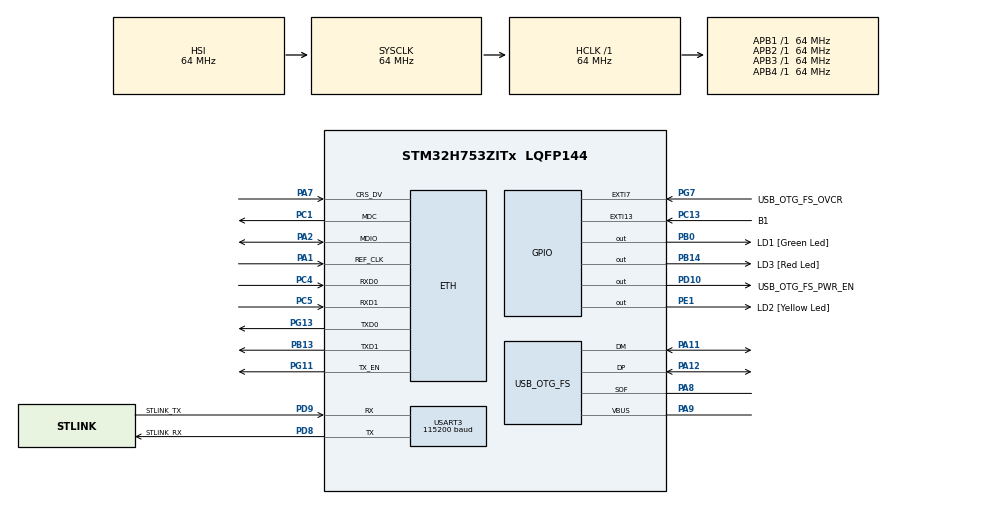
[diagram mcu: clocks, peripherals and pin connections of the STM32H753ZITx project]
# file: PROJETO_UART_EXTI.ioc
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CORTEX_M7.CPU_DCache=Disabled
CORTEX_M7.CPU_ICache=Disabled
CORTEX_M7.MPU_Control=__NULL
Dma.Request0=USART3_RX
Dma.Request1=USART3_TX
Dma.USART3_RX.0.Direction=DMA_PERIPH_TO_MEMORY
Dma.USART3_RX.0.EventEnable=DISABLE
Dma.USART3_RX.0.FIFOMode=DMA_FIFOMODE_DISABLE
Dma.USART3_RX.0.Instance=DMA1_Stream0
Dma.USART3_RX.0.MemDataAlignment=DMA_MDATAALIGN_BYTE
Dma.USART3_RX.0.MemInc=DMA_MINC_ENABLE
Dma.USART3_RX.0.Mode=DMA_NORMAL
Dma.USART3_RX.0.PeriphDataAlignment=DMA_PDATAALIGN_BYTE
Dma.USART3_RX.0.PeriphInc=DMA_PINC_DISABLE
Dma.USART3_RX.0.Polarity=HAL_DMAMUX_REQ_GEN_RISING
Dma.USART3_RX.0.Priority=DMA_PRIORITY_LOW
Dma.USART3_RX.0.RequestNumber=1
Dma.USART3_RX.0.SignalID=NONE
Dma.USART3_RX.0.SyncEnable=DISABLE
Dma.USART3_RX.0.SyncPolarity=HAL_DMAMUX_SYNC_NO_EVENT
Dma.USART3_RX.0.SyncRequestNumber=1
Dma.USART3_RX.0.SyncSignalID=NONE
Dma.USART3_TX.1.Direction=DMA_MEMORY_TO_PERIPH
Dma.USART3_TX.1.EventEnable=DISABLE
Dma.USART3_TX.1.FIFOMode=DMA_FIFOMODE_DISABLE
Dma.USART3_TX.1.Instance=DMA1_Stream1
Dma.USART3_TX.1.MemDataAlignment=DMA_MDATAALIGN_BYTE
Dma.USART3_TX.1.MemInc=DMA_MINC_ENABLE
Dma.USART3_TX.1.Mode=DMA_NORMAL
Dma.USART3_TX.1.PeriphDataAlignment=DMA_PDATAALIGN_BYTE
Dma.USART3_TX.1.PeriphInc=DMA_PINC_DISABLE
Dma.USART3_TX.1.Polarity=HAL_DMAMUX_REQ_GEN_RISING
Dma.USART3_TX.1.Priority=DMA_PRIORITY_LOW
Dma.USART3_TX.1.RequestNumber=1
Dma.USART3_TX.1.SignalID=NONE
Dma.USART3_TX.1.SyncEnable=DISABLE
Dma.USART3_TX.1.SyncPolarity=HAL_DMAMUX_SYNC_NO_EVENT
Dma.USART3_TX.1.SyncRequestNumber=1
Dma.USART3_TX.1.SyncSignalID=NONE
ETH.ETH_RX_DESC_CNT=4
ETH.ETH_TX_DESC_CNT=4
ETH.MACAddr=00\:80\:E1\:00\:00\:00
ETH.MediaInterface=HAL_ETH_RMII_MODE
ETH.RxBuffAddress=0x30040200
ETH.RxBuffLen=1524
ETH.RxDescAddress=0x30040000
ETH.TxDescAddress=0x30040060
Mcu.Family=STM32H7
Mcu.Name=STM32H753ZITx
Mcu.Package=LQFP144
NVIC.DMA1_Stream0_IRQn=true\:0\:0\:false\:false\:true\:false\:true\:true
NVIC.DMA1_Stream1_IRQn=true\:0\:0\:false\:false\:true\:false\:true\:true
NVIC.EXTI15_10_IRQn=true\:0\:0\:false\:false\:true\:true\:true\:true
NVIC.PriorityGroup=NVIC_PRIORITYGROUP_4
NVIC.USART3_IRQn=true\:0\:0\:false\:false\:true\:true\:true\:true
PA1.Mode=RMII
PA1.Signal=ETH_REF_CLK
PA11.Mode=Device_Only
PA11.Signal=USB_OTG_FS_DM
PA12.Mode=Device_Only
PA12.Signal=USB_OTG_FS_DP
PA2.Mode=RMII
PA2.Signal=ETH_MDIO
PA7.Mode=RMII
PA7.Signal=ETH_CRS_DV
PA8.Mode=Activate_SOF_FS
PA8.Signal=USB_OTG_FS_SOF
PA9.Mode=Activate_VBUS
PA9.Signal=USB_OTG_FS_VBUS
PB0.GPIO_Label=LD1 [Green Led]
PB0.Signal=GPIO_Output
PB13.Mode=RMII
PB13.Signal=ETH_TXD1
PB14.GPIO_Label=LD3 [Red Led]
PB14.Signal=GPIO_Output
PC1.Mode=RMII
PC1.Signal=ETH_MDC
PC13.GPIO_Label=B1
PC13.Signal=GPXTI13
PC14-OSC32_IN\ (OSC32_IN).Mode=LSE-External-Oscillator
PC14-OSC32_IN\ (OSC32_IN).Signal=RCC_OSC32_IN
PC15-OSC32_OUT\ (OSC32_OUT).Mode=LSE-External-Oscillator
PC15-OSC32_OUT\ (OSC32_OUT).Signal=RCC_OSC32_OUT
PC4.Mode=RMII
PC4.Signal=ETH_RXD0
PC5.Mode=RMII
PC5.Signal=ETH_RXD1
PD10.GPIO_Label=USB_OTG_FS_PWR_EN
PD10.Signal=GPIO_Output
PD8.GPIO_Label=STLINK_RX
PD8.Mode=Asynchronous
PD8.Signal=USART3_TX
PD9.GPIO_Label=STLINK_TX
PD9.Mode=Asynchronous
PD9.Signal=USART3_RX
PE1.GPIO_Label=LD2 [Yellow Led]
PE1.Signal=GPIO_Output
PG11.Mode=RMII
PG11.Signal=ETH_TX_EN
PG13.Mode=RMII
PG13.Signal=ETH_TXD0
PG7.GPIO_Label=USB_OTG_FS_OVCR
PG7.Signal=GPXTI7
PH0-OSC_IN\ (PH0).Mode=HSE-External-Clock-Source
PH0-OSC_IN\ (PH0).Signal=RCC_OSC_IN
PH1-OSC_OUT\ (PH1).Signal=RCC_OSC_OUT
ProjectManager.HeapSize=0x200
ProjectManager.StackSize=0x400
ProjectManager.TargetToolchain=STM32CubeIDE
RCC.ADCFreq_Value=16125000
RCC.APB1Freq_Value=64000000
RCC.APB2Freq_Value=64000000
RCC.APB3Freq_Value=64000000
RCC.APB4Freq_Value=64000000
RCC.CortexFreq_Value=64000000
RCC.DIVM1=1
RCC.DIVN1=24
RCC.DIVQ1=4
RCC.HCLKFreq_Value=64000000
RCC.HSE_VALUE=8000000
RCC.PLLFRACN=0
RCC.PWR_Regulator_Voltage_Scale=PWR_REGULATOR_VOLTAGE_SCALE2
RCC.SYSCLKFreq_VALUE=64000000
RCC.USBFreq_Value=48000000
USART3.AutoBaudRateEnableParam=UART_ADVFEATURE_AUTOBAUDRATE_DISABLE
USART3.BaudRate=115200
USART3.ClockPrescaler=PRESCALER_DIV1
USART3.DMADisableonRxErrorParam=ADVFEATURE_DMA_ENABLEONRXERROR
USART3.DataInvertParam=ADVFEATURE_DATAINV_DISABLE
USART3.FIFOMode=FIFOMODE_DISABLE
USART3.MSBFirstParam=ADVFEATURE_MSBFIRST_DISABLE
USART3.Mode=MODE_TX_RX
USART3.OneBitSampling=UART_ONE_BIT_SAMPLE_DISABLE
USART3.OverSampling=UART_OVERSAMPLING_16
USART3.OverrunDisableParam=ADVFEATURE_OVERRUN_ENABLE
USART3.Parity=PARITY_NONE
USART3.RXFIFOThreshold=RXFIFO_THRESHOLD_1EIGHTHFULL
USART3.RxPinLevelInvertParam=ADVFEATURE_RXINV_DISABLE
USART3.StopBits=STOPBITS_1
USART3.SwapParam=ADVFEATURE_SWAP_DISABLE
USART3.TXFIFOThreshold=TXFIFO_THRESHOLD_1EIGHTHFULL
USART3.TxPinLevelInvertParam=ADVFEATURE_TXINV_DISABLE
USART3.VirtualMode-Asynchronous=VM_ASYNC
USART3.WordLength=WORDLENGTH_8B
USB_OTG_FS.Sof_enable=ENABLE
USB_OTG_FS.VirtualMode=Device_Only
USB_OTG_FS.battery_charging_enable=ENABLE
USB_OTG_FS.low_power_enable=DISABLE
USB_OTG_FS.lpm_enable=DISABLE
USB_OTG_FS.use_dedicated_ep1=DISABLE
USB_OTG_FS.vbus_sensing_enable=ENABLE
VP_MEMORYMAP_VS_MEMORYMAP.Mode=CurAppReg
board=NUCLEO-H753ZI

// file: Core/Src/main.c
/* USER CODE BEGIN Header */
/**
  ******************************************************************************
  * @file           : main.c
  * @brief          : Main program body
  ******************************************************************************
  * @attention
  *
  * Copyright (c) 2024 STMicroelectronics.
  * All rights reserved.
  *
  * This software is licensed under terms that can be found in the LICENSE file
  * in the root directory of this software component.
  * If no LICENSE file comes with this software, it is provided AS-IS.
  *
  ******************************************************************************
  */
/* USER CODE END Header */
#include "main.h"
#include "string.h"

/* USER CODE BEGIN Includes */
int contador = 0;

char rx_buffer[10]; // Buffer for received character
char message[10]; //mensagem a ser transmitida pela serial
char Rx_flag = '0';

char tabela[10][5] = {
		"Wagner1,09887",
		"Vallentina,09888",
		"Izabella,09999",
		"Benicio,09999",
		"Vilma,09881"
};
/* USER CODE END Includes */

#if defined ( __ICCARM__ ) /*!< IAR Compiler */
#pragma location=0x30040000
ETH_DMADescTypeDef  DMARxDscrTab[ETH_RX_DESC_CNT]; /* Ethernet Rx DMA Descriptors */
#pragma location=0x30040060
ETH_DMADescTypeDef  DMATxDscrTab[ETH_TX_DESC_CNT]; /* Ethernet Tx DMA Descriptors */

#elif defined ( __CC_ARM )  /* MDK ARM Compiler */

__attribute__((at(0x30040000))) ETH_DMADescTypeDef  DMARxDscrTab[ETH_RX_DESC_CNT]; /* Ethernet Rx DMA Descriptors */
__attribute__((at(0x30040060))) ETH_DMADescTypeDef  DMATxDscrTab[ETH_TX_DESC_CNT]; /* Ethernet Tx DMA Descriptors */

#elif defined ( __GNUC__ ) /* GNU Compiler */

ETH_DMADescTypeDef DMARxDscrTab[ETH_RX_DESC_CNT] __attribute__((section(".RxDecripSection"))); /* Ethernet Rx DMA Descriptors */
ETH_DMADescTypeDef DMATxDscrTab[ETH_TX_DESC_CNT] __attribute__((section(".TxDecripSection")));   /* Ethernet Tx DMA Descriptors */
#endif

ETH_TxPacketConfig TxConfig;

ETH_HandleTypeDef heth;

UART_HandleTypeDef huart3;
DMA_HandleTypeDef hdma_usart3_rx;
DMA_HandleTypeDef hdma_usart3_tx;

PCD_HandleTypeDef hpcd_USB_OTG_FS;

UART_HandleTypeDef huart2;  // Supondo que você esteja usando UART2

void SystemClock_Config(void);
static void MX_GPIO_Init(void);
static void MX_DMA_Init(void);
static void MX_ETH_Init(void);
static void MX_USART3_UART_Init(void);
static void MX_USB_OTG_FS_PCD_Init(void);

int main(void)
{

  /* MCU Configuration--------------------------------------------------------*/

  /* Reset of all peripherals, Initializes the Flash interface and the Systick. */
  HAL_Init();

  /* Configure the system clock */
  SystemClock_Config();

  /* Initialize all configured peripherals */
  MX_GPIO_Init();
  MX_DMA_Init();
  MX_ETH_Init();
  MX_USART3_UART_Init();
  MX_USB_OTG_FS_PCD_Init();
  /* USER CODE BEGIN 2 */
  HAL_UART_Receive_DMA(&huart3, rx_buffer, sizeof(rx_buffer));
  /* USER CODE END 2 */

  /* Infinite loop */
  while (1)
  {

    /* USER CODE BEGIN 3 */
	  HAL_UART_Receive_DMA(&huart3, rx_buffer, sizeof(rx_buffer));

	  if (rx_buffer [0] != 0) { //realiza a leitura do buffer e compara cada caractere

	  if (rx_buffer[0] == 'L' && rx_buffer[1] == 'e' && rx_buffer[2] == 'd' && rx_buffer[3] == '_' && rx_buffer[4] == 'G') {
	    	rx_buffer[0] = 0;	HAL_GPIO_TogglePin(GPIOB, GPIO_PIN_0);  } //led verde

	  if (rx_buffer[0] == 'L' && rx_buffer[1] == 'e' && rx_buffer[2] == 'd' && rx_buffer[3] == '_' && rx_buffer[4] == 'R') {
	  	    	rx_buffer[0] = 0;	HAL_GPIO_TogglePin(GPIOB, GPIO_PIN_14);  } //led vermelho

	  if (rx_buffer[0] == 'L' && rx_buffer[1] == 'e' && rx_buffer[2] == 'd' && rx_buffer[3] == '_' && rx_buffer[4] == 'Y') {
	  	    	rx_buffer[0] = 0;	HAL_GPIO_TogglePin(GPIOE, GPIO_PIN_1);  } //led amarelo

	  if (rx_buffer[0] == 'C' && rx_buffer[1] == 'l' && rx_buffer[2] == 'e' && rx_buffer[3] == 'a' && rx_buffer[4] == 'r' && rx_buffer[4] == '_' && rx_buffer[4] == 'C' && rx_buffer[4] == 'o' && rx_buffer[4] == 'u' && rx_buffer[4] == 'n' && rx_buffer[4] == 't') {
	  	  	    	rx_buffer[0] = 0;	contador = 0;	  } //zerar contador

	  if (rx_buffer[0] == 'T' && rx_buffer[1] == 'a' && rx_buffer[2] == 'b' && rx_buffer[3] == 'l' && rx_buffer[4] == 'e') {
	  	  	  	    	rx_buffer[0] = 0;

	  	   //sprintf(message, "%s", tabela);  //converte o valor inteiro para char e envia pela serial

	  	   HAL_UART_Transmit_DMA(&huart3, (uint8_t)message, strlen(message)); 	  HAL_Delay(500);
	  	   if (Rx_flag == '1')  {Rx_flag = '0'; } else {  __NOP(); 	  }	  } //exibir tabela

	  if (rx_buffer[0] == 'S' && rx_buffer[1] == 'e' && rx_buffer[2] == 'n' && rx_buffer[3] == 'd' && rx_buffer[4] == '_' && rx_buffer[5] == 'C' && rx_buffer[6] == 'o' && rx_buffer[7] == 'u' && rx_buffer[8] == 'n' && rx_buffer[9] == 't') {
		      rx_buffer[0] = 0;

           sprintf(message, "%s", contador);  //converte o valor inteiro para char e envia pela serial
           char message = "1";
           HAL_UART_Transmit_DMA(&huart3, (uint8_t)message, strlen(message)); 	  HAL_Delay(500);
		   if (Rx_flag == '1')  {Rx_flag = '0'; } else {  __NOP(); 	  }	  } //ler o contador
   }
}
  /* USER CODE END 3 */
}

void SystemClock_Config(void)
{
  RCC_OscInitTypeDef RCC_OscInitStruct = {0};
  RCC_ClkInitTypeDef RCC_ClkInitStruct = {0};

  /** Supply configuration update enable
  */
  HAL_PWREx_ConfigSupply(PWR_LDO_SUPPLY);

  /** Configure the main internal regulator output voltage
  */
  __HAL_PWR_VOLTAGESCALING_CONFIG(PWR_REGULATOR_VOLTAGE_SCALE2);

  while(!__HAL_PWR_GET_FLAG(PWR_FLAG_VOSRDY)) {}

  /** Initializes the RCC Oscillators according to the specified parameters
  * in the RCC_OscInitTypeDef structure.
  */
  RCC_OscInitStruct.OscillatorType = RCC_OSCILLATORTYPE_HSI|RCC_OSCILLATORTYPE_HSE;
  RCC_OscInitStruct.HSEState = RCC_HSE_BYPASS;
  RCC_OscInitStruct.HSIState = RCC_HSI_DIV1;
  RCC_OscInitStruct.HSICalibrationValue = RCC_HSICALIBRATION_DEFAULT;
  RCC_OscInitStruct.PLL.PLLState = RCC_PLL_ON;
  RCC_OscInitStruct.PLL.PLLSource = RCC_PLLSOURCE_HSE;
  RCC_OscInitStruct.PLL.PLLM = 1;
  RCC_OscInitStruct.PLL.PLLN = 24;
  RCC_OscInitStruct.PLL.PLLP = 2;
  RCC_OscInitStruct.PLL.PLLQ = 4;
  RCC_OscInitStruct.PLL.PLLR = 2;
  RCC_OscInitStruct.PLL.PLLRGE = RCC_PLL1VCIRANGE_3;
  RCC_OscInitStruct.PLL.PLLVCOSEL = RCC_PLL1VCOWIDE;
  RCC_OscInitStruct.PLL.PLLFRACN = 0;
  if (HAL_RCC_OscConfig(&RCC_OscInitStruct) != HAL_OK)
  {
    Error_Handler();
  }

  /** Initializes the CPU, AHB and APB buses clocks
  */
  RCC_ClkInitStruct.ClockType = RCC_CLOCKTYPE_HCLK|RCC_CLOCKTYPE_SYSCLK
                              |RCC_CLOCKTYPE_PCLK1|RCC_CLOCKTYPE_PCLK2
                              |RCC_CLOCKTYPE_D3PCLK1|RCC_CLOCKTYPE_D1PCLK1;
  RCC_ClkInitStruct.SYSCLKSource = RCC_SYSCLKSOURCE_HSI;
  RCC_ClkInitStruct.SYSCLKDivider = RCC_SYSCLK_DIV1;
  RCC_ClkInitStruct.AHBCLKDivider = RCC_HCLK_DIV1;
  RCC_ClkInitStruct.APB3CLKDivider = RCC_APB3_DIV1;
  RCC_ClkInitStruct.APB1CLKDivider = RCC_APB1_DIV1;
  RCC_ClkInitStruct.APB2CLKDivider = RCC_APB2_DIV1;
  RCC_ClkInitStruct.APB4CLKDivider = RCC_APB4_DIV1;

  if (HAL_RCC_ClockConfig(&RCC_ClkInitStruct, FLASH_LATENCY_1) != HAL_OK)
  {
    Error_Handler();
  }
}

static void MX_ETH_Init(void)
{

   static uint8_t MACAddr[6];

  heth.Instance = ETH;
  MACAddr[0] = 0x00;
  MACAddr[1] = 0x80;
  MACAddr[2] = 0xE1;
  MACAddr[3] = 0x00;
  MACAddr[4] = 0x00;
  MACAddr[5] = 0x00;
  heth.Init.MACAddr = &MACAddr[0];
  heth.Init.MediaInterface = HAL_ETH_RMII_MODE;
  heth.Init.TxDesc = DMATxDscrTab;
  heth.Init.RxDesc = DMARxDscrTab;
  heth.Init.RxBuffLen = 1524;

  if (HAL_ETH_Init(&heth) != HAL_OK)
  {
    Error_Handler();
  }

  memset(&TxConfig, 0 , sizeof(ETH_TxPacketConfig));
  TxConfig.Attributes = ETH_TX_PACKETS_FEATURES_CSUM | ETH_TX_PACKETS_FEATURES_CRCPAD;
  TxConfig.ChecksumCtrl = ETH_CHECKSUM_IPHDR_PAYLOAD_INSERT_PHDR_CALC;
  TxConfig.CRCPadCtrl = ETH_CRC_PAD_INSERT;

}

static void MX_USART3_UART_Init(void)
{

  huart3.Instance = USART3;
  huart3.Init.BaudRate = 115200;
  huart3.Init.WordLength = UART_WORDLENGTH_8B;
  huart3.Init.StopBits = UART_STOPBITS_1;
  huart3.Init.Parity = UART_PARITY_NONE;
  huart3.Init.Mode = UART_MODE_TX_RX;
  huart3.Init.HwFlowCtl = UART_HWCONTROL_NONE;
  huart3.Init.OverSampling = UART_OVERSAMPLING_16;
  huart3.Init.OneBitSampling = UART_ONE_BIT_SAMPLE_DISABLE;
  huart3.Init.ClockPrescaler = UART_PRESCALER_DIV1;
  huart3.AdvancedInit.AdvFeatureInit = UART_ADVFEATURE_NO_INIT;
  if (HAL_UART_Init(&huart3) != HAL_OK)
  {
    Error_Handler();
  }
  if (HAL_UARTEx_SetTxFifoThreshold(&huart3, UART_TXFIFO_THRESHOLD_1_8) != HAL_OK)
  {
    Error_Handler();
  }
  if (HAL_UARTEx_SetRxFifoThreshold(&huart3, UART_RXFIFO_THRESHOLD_1_8) != HAL_OK)
  {
    Error_Handler();
  }
  if (HAL_UARTEx_DisableFifoMode(&huart3) != HAL_OK)
  {
    Error_Handler();
  }

}

static void MX_USB_OTG_FS_PCD_Init(void)
{

  hpcd_USB_OTG_FS.Instance = USB_OTG_FS;
  hpcd_USB_OTG_FS.Init.dev_endpoints = 9;
  hpcd_USB_OTG_FS.Init.speed = PCD_SPEED_FULL;
  hpcd_USB_OTG_FS.Init.dma_enable = DISABLE;
  hpcd_USB_OTG_FS.Init.phy_itface = PCD_PHY_EMBEDDED;
  hpcd_USB_OTG_FS.Init.Sof_enable = ENABLE;
  hpcd_USB_OTG_FS.Init.low_power_enable = DISABLE;
  hpcd_USB_OTG_FS.Init.lpm_enable = DISABLE;
  hpcd_USB_OTG_FS.Init.battery_charging_enable = ENABLE;
  hpcd_USB_OTG_FS.Init.vbus_sensing_enable = ENABLE;
  hpcd_USB_OTG_FS.Init.use_dedicated_ep1 = DISABLE;
  if (HAL_PCD_Init(&hpcd_USB_OTG_FS) != HAL_OK)
  {
    Error_Handler();
  }

}

static void MX_DMA_Init(void)
{

  /* DMA controller clock enable */
  __HAL_RCC_DMA1_CLK_ENABLE();

  /* DMA interrupt init */
  /* DMA1_Stream0_IRQn interrupt configuration */
  HAL_NVIC_SetPriority(DMA1_Stream0_IRQn, 0, 0);
  HAL_NVIC_EnableIRQ(DMA1_Stream0_IRQn);
  /* DMA1_Stream1_IRQn interrupt configuration */
  HAL_NVIC_SetPriority(DMA1_Stream1_IRQn, 0, 0);
  HAL_NVIC_EnableIRQ(DMA1_Stream1_IRQn);

}

static void MX_GPIO_Init(void)
{
  GPIO_InitTypeDef GPIO_InitStruct = {0};

  /* GPIO Ports Clock Enable */
  __HAL_RCC_GPIOC_CLK_ENABLE();
  __HAL_RCC_GPIOH_CLK_ENABLE();
  __HAL_RCC_GPIOA_CLK_ENABLE();
  __HAL_RCC_GPIOB_CLK_ENABLE();
  __HAL_RCC_GPIOD_CLK_ENABLE();
  __HAL_RCC_GPIOG_CLK_ENABLE();
  __HAL_RCC_GPIOE_CLK_ENABLE();

  /*Configure GPIO pin Output Level */
  HAL_GPIO_WritePin(GPIOB, LD1_Pin|LD3_Pin, GPIO_PIN_RESET);

  /*Configure GPIO pin Output Level */
  HAL_GPIO_WritePin(USB_OTG_FS_PWR_EN_GPIO_Port, USB_OTG_FS_PWR_EN_Pin, GPIO_PIN_RESET);

  /*Configure GPIO pin Output Level */
  HAL_GPIO_WritePin(LD2_GPIO_Port, LD2_Pin, GPIO_PIN_RESET);

  /*Configure GPIO pin : b1_Pin */
  GPIO_InitStruct.Pin = B1_Pin;
  GPIO_InitStruct.Mode = GPIO_MODE_IT_RISING;
  GPIO_InitStruct.Pull = GPIO_NOPULL;
  HAL_GPIO_Init(B1_GPIO_Port, &GPIO_InitStruct);

  /*Configure GPIO pins : LD1_Pin LD3_Pin */
  GPIO_InitStruct.Pin = LD1_Pin|LD3_Pin;
  GPIO_InitStruct.Mode = GPIO_MODE_OUTPUT_PP;
  GPIO_InitStruct.Pull = GPIO_NOPULL;
  GPIO_InitStruct.Speed = GPIO_SPEED_FREQ_LOW;
  HAL_GPIO_Init(GPIOB, &GPIO_InitStruct);

  /*Configure GPIO pin : USB_OTG_FS_PWR_EN_Pin */
  GPIO_InitStruct.Pin = USB_OTG_FS_PWR_EN_Pin;
  GPIO_InitStruct.Mode = GPIO_MODE_OUTPUT_PP;
  GPIO_InitStruct.Pull = GPIO_NOPULL;
  GPIO_InitStruct.Speed = GPIO_SPEED_FREQ_LOW;
  HAL_GPIO_Init(USB_OTG_FS_PWR_EN_GPIO_Port, &GPIO_InitStruct);

  /*Configure GPIO pin : USB_OTG_FS_OVCR_Pin */
  GPIO_InitStruct.Pin = USB_OTG_FS_OVCR_Pin;
  GPIO_InitStruct.Mode = GPIO_MODE_IT_RISING;
  GPIO_InitStruct.Pull = GPIO_NOPULL;
  HAL_GPIO_Init(USB_OTG_FS_OVCR_GPIO_Port, &GPIO_InitStruct);

  /*Configure GPIO pin : LD2_Pin */
  GPIO_InitStruct.Pin = LD2_Pin;
  GPIO_InitStruct.Mode = GPIO_MODE_OUTPUT_PP;
  GPIO_InitStruct.Pull = GPIO_NOPULL;
  GPIO_InitStruct.Speed = GPIO_SPEED_FREQ_LOW;
  HAL_GPIO_Init(LD2_GPIO_Port, &GPIO_InitStruct);

  /* EXTI interrupt init*/
  HAL_NVIC_SetPriority(EXTI15_10_IRQn, 0, 0);
  HAL_NVIC_EnableIRQ(EXTI15_10_IRQn);

}

/* USER CODE BEGIN 4 */

	void HAL_GPIO_EXTI_Callback(uint16_t GPIO_Pin)
	{
	if (GPIO_Pin == GPIO_PIN_13) {
		HAL_GPIO_TogglePin(GPIOB, GPIO_PIN_0); //led verde
		contador = contador + 1;  //incrementa o valor da variavel contador quando houver interrupção

	}  else {__NOP();}
}

	void HAL_UART_RxCpltCallback(UART_HandleTypeDef *huart)	{
	Rx_flag = '1';	HAL_UART_Receive_IT(&huart3, rx_buffer, sizeof(rx_buffer));    }

/* USER CODE END 4 */

void Error_Handler(void)
{
  __disable_irq();
  while (1)
  {
  }
}
